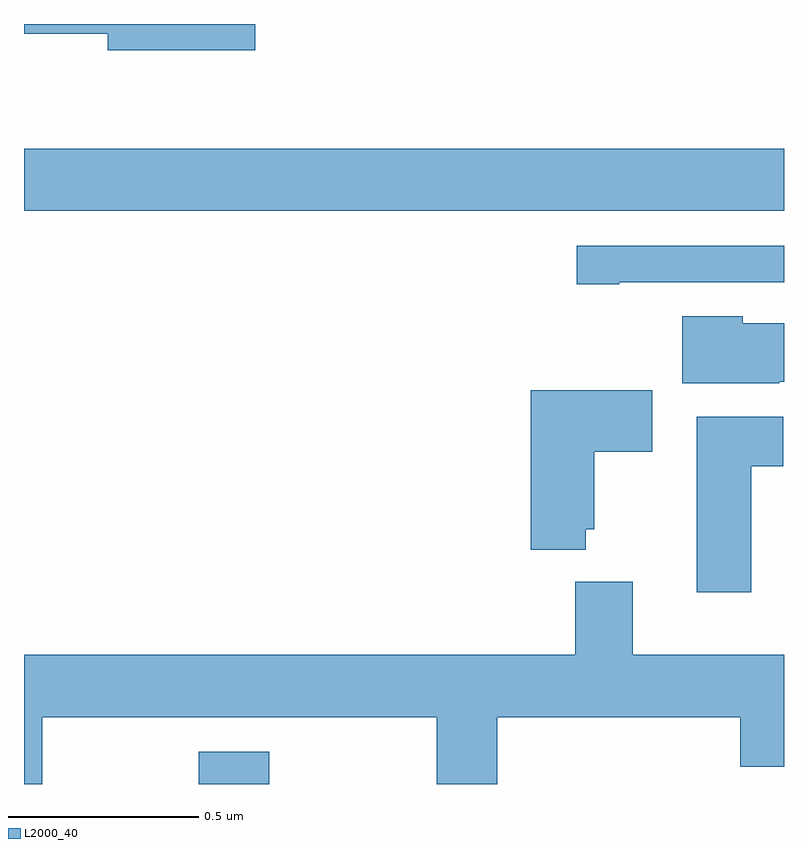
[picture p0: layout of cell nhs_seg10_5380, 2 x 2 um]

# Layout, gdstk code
import gdstk
lib = gdstk.Library(unit=1e-6, precision=1e-09)
def R(c, l, rs):  # rectangles x0, y0, x1, y1
    for r in rs: c.add(gdstk.rectangle(r[:2], r[2:], *l))
def P(c, l, *ps):  # polygons
    for p in ps: c.add(gdstk.Polygon(p, *l))
L2000_40 = (2000, 40)

nhs_seg10_5380 = lib.new_cell('nhs_seg10_5380')
R(nhs_seg10_5380, L2000_40, [(178.46,1273.5,178.645,1273.585), (178,1275.008,180,1275.172)])
P(nhs_seg10_5380, L2000_40, [(178.609,1275.5),(178,1275.5),(178,1275.474),(178.22,1275.474),(178.22,1275.431),(178.609,1275.431)],
  [(179.566,1274.82),(180,1274.82),(180,1274.916),(179.454,1274.916),(179.454,1274.815),(179.566,1274.815)],
  [(179.987,1274.559),(180,1274.559),(180,1274.713),(179.892,1274.713),(179.892,1274.731),(179.732,1274.731),(179.732,1274.555),(179.987,1274.555)],
  [(179.478,1274.171),(179.5,1274.171),(179.5,1274.374),(179.653,1274.374),(179.653,1274.536),(179.333,1274.536),(179.333,1274.117),(179.478,1274.117)],
  [(179.914,1274.336),(179.998,1274.336),(179.998,1274.467),(179.771,1274.467),(179.771,1274.004),(179.914,1274.004)],
  [(178.048,1273.676),(179.086,1273.676),(179.086,1273.5),(179.246,1273.5),(179.246,1273.676),(179.885,1273.676),(179.885,1273.545),(180,1273.545),(180,1273.84),(179.602,1273.84),(179.602,1274.032),(179.45,1274.032),(179.45,1273.84),(178,1273.84),(178,1273.5),(178.048,1273.5)])

lib.write_gds('nhs_seg10_5380.gds')
